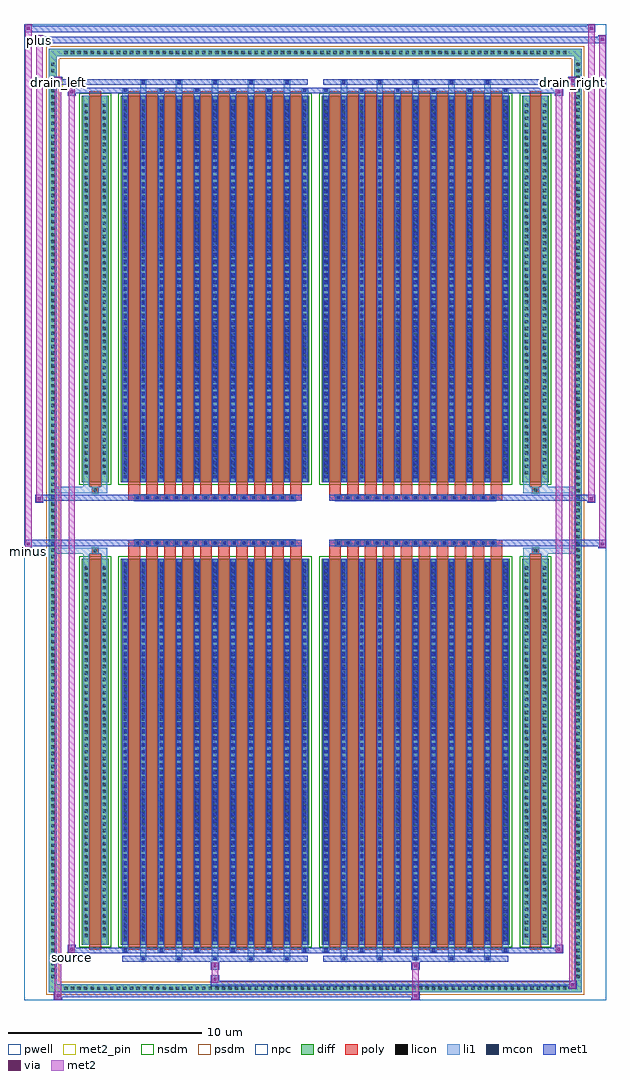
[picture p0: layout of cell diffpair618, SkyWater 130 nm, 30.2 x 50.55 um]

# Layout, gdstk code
import gdstk
lib = gdstk.Library(unit=1e-6, precision=5e-09)
def R(c, l, rs):  # rectangles x0, y0, x1, y1
    for r in rs: c.add(gdstk.rectangle(r[:2], r[2:], *l))
def A(c, l, x, y, w, h, nx, ny, dx, dy):  # array of equal rectangles
    R(c, l, [(x+i*dx, y+j*dy, x+i*dx+w, y+j*dy+h) for i in range(nx) for j in range(ny)])
def P(c, l, *ps):  # polygons
    for p in ps: c.add(gdstk.Polygon(p, *l))
pwell = (64, 44)
diff = (65, 20)
poly = (66, 20)
licon = (66, 44)
li1 = (67, 20)
mcon = (67, 44)
met1 = (68, 20)
via = (68, 44)
met2_pin = (69, 16)
met2 = (69, 20)
nsdm = (93, 44)
psdm = (94, 20)
npc = (95, 20)

diffpair618 = lib.new_cell('diffpair618')
R(diffpair618, pwell, [(-15.08,-24.84,15.08,25.71), (-12.4,-23.03,-0.01,-0.805), (0.01,-23.03,12.4,-0.805), (-12.4,0.805,-0.01,23.03), (0.01,0.805,12.4,23.03)])
A(diffpair618, diff, -13.125, -24.44, 0.41, 0.41, 77, 2, 0.34, 48.47)
A(diffpair618, diff, -13.81, -23.835, 0.41, 0.41, 1, 140, 0, 0.34)
A(diffpair618, diff, 13.4, -23.835, 0.41, 0.41, 1, 140, 0, 0.34)
R(diffpair618, diff, [(-13.125,-24.44,13.125,-24.03), (-13.81,-23.835,-13.4,23.835), (13.4,-23.835,13.81,23.835), (-12.09,-21.985,-10.71,-1.985), (-10.07,-21.985,-0.32,-1.985), (0.32,-21.985,10.07,-1.985), (10.71,-21.985,12.09,-1.985), (-12.09,1.985,-10.71,21.985), (-10.07,1.985,-0.32,21.985), (0.32,1.985,10.07,21.985), (10.71,1.985,12.09,21.985), (-13.125,24.03,13.125,24.44)])
P(diffpair618, diff, [(13.81,24.44),(-13.81,24.44),(-13.81,-24.03),(-13.4,-24.03),(-13.4,24.03),(13.4,24.03),(13.4,-24.03),(-13.4,-24.03),(-13.81,-24.03),(-13.81,-24.44),(13.81,-24.44)])
A(diffpair618, poly, -9.68, -22.235, 0.6, 20.5, 10, 2, 0.93, 23.97)
A(diffpair618, poly, 0.71, -22.235, 0.6, 20.5, 10, 2, 0.93, 23.97)
A(diffpair618, poly, -9.68, -1.735, 0.6, 0.4, 10, 2, 0.93, 3.07)
A(diffpair618, poly, 0.71, -1.735, 0.6, 0.4, 10, 2, 0.93, 3.07)
A(diffpair618, poly, -9.36, -1.335, 0.33, 0.33, 17, 2, 0.5, 2.34)
A(diffpair618, poly, 1.03, -1.335, 0.33, 0.33, 17, 2, 0.5, 2.34)
R(diffpair618, poly, [(-11.7,-22.235,-11.1,-1.735), (11.1,-22.235,11.7,-1.735), (-11.565,-1.735,-11.235,-1.405), (-11.565,-1.735,-11.235,-1.405), (11.235,-1.735,11.565,-1.405), (11.235,-1.735,11.565,-1.405), (-9.68,-1.335,-0.71,-1.005), (0.71,-1.335,9.68,-1.005), (-9.68,1.005,-0.71,1.335), (0.71,1.005,9.68,1.335), (-11.565,1.405,-11.235,1.735), (-11.565,1.405,-11.235,1.735), (11.235,1.405,11.565,1.735), (11.235,1.405,11.565,1.735), (-11.7,1.735,-11.1,22.235), (11.1,1.735,11.7,22.235)])
A(diffpair618, licon, -13.005, -24.32, 0.17, 0.17, 77, 2, 0.34, 48.47)
A(diffpair618, licon, -13.69, -23.715, 0.17, 0.17, 1, 140, 0, 0.34)
A(diffpair618, licon, 13.52, -23.715, 0.17, 0.17, 1, 140, 0, 0.34)
A(diffpair618, licon, -11.95, -21.59, 0.17, 0.17, 1, 57, 0, 0.34)
A(diffpair618, licon, -11.02, -21.59, 0.17, 0.17, 1, 57, 0, 0.34)
A(diffpair618, licon, -9.93, -21.59, 0.17, 0.17, 11, 57, 0.93, 0.34)
A(diffpair618, licon, 0.46, -21.59, 0.17, 0.17, 11, 57, 0.93, 0.34)
A(diffpair618, licon, 10.85, -21.59, 0.17, 0.17, 1, 57, 0, 0.34)
A(diffpair618, licon, 11.78, -21.59, 0.17, 0.17, 1, 57, 0, 0.34)
A(diffpair618, licon, -9.28, -1.255, 0.17, 0.17, 17, 2, 0.5, 2.34)
A(diffpair618, licon, 1.11, -1.255, 0.17, 0.17, 17, 2, 0.5, 2.34)
A(diffpair618, licon, -11.95, 2.38, 0.17, 0.17, 1, 57, 0, 0.34)
A(diffpair618, licon, -11.02, 2.38, 0.17, 0.17, 1, 57, 0, 0.34)
A(diffpair618, licon, -9.93, 2.38, 0.17, 0.17, 11, 57, 0.93, 0.34)
A(diffpair618, licon, 0.46, 2.38, 0.17, 0.17, 11, 57, 0.93, 0.34)
A(diffpair618, licon, 10.85, 2.38, 0.17, 0.17, 1, 57, 0, 0.34)
A(diffpair618, licon, 11.78, 2.38, 0.17, 0.17, 1, 57, 0, 0.34)
R(diffpair618, licon, [(-11.485,-1.655,-11.315,-1.485), (11.315,-1.655,11.485,-1.485), (-11.485,1.485,-11.315,1.655), (11.315,1.485,11.485,1.655)])
A(diffpair618, li1, -13.085, -24.4, 0.33, 0.33, 77, 2, 0.34, 48.47)
A(diffpair618, li1, -13.77, -23.795, 0.33, 0.33, 1, 140, 0, 0.34)
A(diffpair618, li1, 13.44, -23.795, 0.33, 0.33, 1, 140, 0, 0.34)
A(diffpair618, li1, -9.08, -22.79, 0.33, 0.805, 5, 2, 1.86, 44.775)
A(diffpair618, li1, -9, -22.79, 0.17, 0.17, 5, 2, 1.86, 45.41)
A(diffpair618, li1, 1.31, -22.79, 0.33, 0.805, 5, 2, 1.86, 44.775)
A(diffpair618, li1, 1.39, -22.79, 0.17, 0.17, 5, 2, 1.86, 45.41)
A(diffpair618, li1, -10.01, -22.36, 0.33, 0.375, 6, 2, 1.86, 44.345)
A(diffpair618, li1, -9.93, -22.36, 0.17, 0.17, 6, 2, 1.86, 44.55)
A(diffpair618, li1, 0.38, -22.36, 0.33, 0.375, 6, 2, 1.86, 44.345)
A(diffpair618, li1, 0.46, -22.36, 0.17, 0.17, 6, 2, 1.86, 44.55)
A(diffpair618, li1, -10.01, -21.985, 0.33, 20, 11, 2, 0.93, 23.97)
A(diffpair618, li1, 0.38, -21.985, 0.33, 20, 11, 2, 0.93, 23.97)
A(diffpair618, li1, -9.93, -21.79, 0.17, 0.17, 11, 55, 0.93, 0.36)
A(diffpair618, li1, -9.93, -21.79, 0.17, 19.61, 11, 2, 0.93, 23.97)
A(diffpair618, li1, 0.46, -21.79, 0.17, 0.17, 11, 55, 0.93, 0.36)
A(diffpair618, li1, 0.46, -21.79, 0.17, 19.61, 11, 2, 0.93, 23.97)
A(diffpair618, li1, -12.03, -21.67, 0.33, 0.33, 1, 57, 0, 0.34)
A(diffpair618, li1, -11.1, -21.67, 0.33, 0.33, 1, 57, 0, 0.34)
A(diffpair618, li1, -10.01, -21.67, 0.33, 0.33, 11, 57, 0.93, 0.34)
A(diffpair618, li1, 0.38, -21.67, 0.33, 0.33, 11, 57, 0.93, 0.34)
A(diffpair618, li1, 10.77, -21.67, 0.33, 0.33, 1, 57, 0, 0.34)
A(diffpair618, li1, 11.7, -21.67, 0.33, 0.33, 1, 57, 0, 0.34)
A(diffpair618, li1, -9.36, -1.335, 0.33, 0.33, 17, 2, 0.5, 2.34)
A(diffpair618, li1, 1.03, -1.335, 0.33, 0.33, 17, 2, 0.5, 2.34)
A(diffpair618, li1, -9.93, 2.18, 0.17, 0.17, 11, 55, 0.93, 0.36)
A(diffpair618, li1, 0.46, 2.18, 0.17, 0.17, 11, 55, 0.93, 0.36)
A(diffpair618, li1, -12.03, 2.3, 0.33, 0.33, 1, 57, 0, 0.34)
A(diffpair618, li1, -11.1, 2.3, 0.33, 0.33, 1, 57, 0, 0.34)
A(diffpair618, li1, -10.01, 2.3, 0.33, 0.33, 11, 57, 0.93, 0.34)
A(diffpair618, li1, 0.38, 2.3, 0.33, 0.33, 11, 57, 0.93, 0.34)
A(diffpair618, li1, 10.77, 2.3, 0.33, 0.33, 1, 57, 0, 0.34)
A(diffpair618, li1, 11.7, 2.3, 0.33, 0.33, 1, 57, 0, 0.34)
R(diffpair618, li1, [(-13.81,-24.44,-13.4,-24.03), (-13.81,-24.44,-13.4,-24.03), (-13.4,-24.44,13.4,-24.03), (13.4,-24.44,13.81,-24.03), (13.4,-24.44,13.81,-24.03), (-13.81,-24.03,-13.4,24.03), (13.4,-24.03,13.81,24.03), (-12.03,-21.985,-11.7,-1.985), (-11.1,-21.985,-10.77,-1.985), (10.77,-21.985,11.1,-1.985), (11.7,-21.985,12.03,-1.985), (-12.03,-1.985,-11.7,-1.405), (-11.1,-1.985,-10.77,-1.405), (10.77,-1.985,11.1,-1.405), (11.7,-1.985,12.03,-1.405), (-13.81,-1.735,-11.565,-1.405), (-12.03,-1.735,-11.565,-1.405), (-11.565,-1.735,-11.235,-1.405), (-11.235,-1.735,-10.77,-1.405), (10.77,-1.735,11.235,-1.405), (11.235,-1.735,11.565,-1.405), (11.235,-1.735,13.81,-1.405), (11.565,-1.735,12.03,-1.405), (-13.81,1.405,-11.565,1.735), (-12.03,1.405,-11.565,1.735), (-12.03,1.405,-11.7,1.985), (-11.565,1.405,-11.235,1.735), (-11.235,1.405,-10.77,1.735), (-11.1,1.405,-10.77,1.985), (10.77,1.405,11.235,1.735), (10.77,1.405,11.1,1.985), (11.235,1.405,11.565,1.735), (11.235,1.405,13.81,1.735), (11.565,1.405,12.03,1.735), (11.7,1.405,12.03,1.985), (-12.03,1.985,-11.7,21.985), (-11.1,1.985,-10.77,21.985), (10.77,1.985,11.1,21.985), (11.7,1.985,12.03,21.985), (-13.81,24.03,-13.4,24.44), (-13.81,24.03,-13.4,24.44), (-13.4,24.03,13.4,24.44), (13.4,24.03,13.81,24.44), (13.4,24.03,13.81,24.44)])
A(diffpair618, mcon, -9, -22.79, 0.17, 0.17, 5, 2, 1.86, 45.41)
A(diffpair618, mcon, 1.39, -22.79, 0.17, 0.17, 5, 2, 1.86, 45.41)
A(diffpair618, mcon, -9.93, -22.36, 0.17, 0.17, 6, 2, 1.86, 44.55)
A(diffpair618, mcon, 0.46, -22.36, 0.17, 0.17, 6, 2, 1.86, 44.55)
A(diffpair618, mcon, -9.93, -21.79, 0.17, 0.17, 11, 55, 0.93, 0.36)
A(diffpair618, mcon, 0.46, -21.79, 0.17, 0.17, 11, 55, 0.93, 0.36)
A(diffpair618, mcon, -9.28, -1.255, 0.17, 0.17, 17, 2, 0.5, 2.34)
A(diffpair618, mcon, 1.11, -1.255, 0.17, 0.17, 17, 2, 0.5, 2.34)
A(diffpair618, mcon, -9.93, 2.18, 0.17, 0.17, 11, 55, 0.93, 0.36)
A(diffpair618, mcon, 0.46, 2.18, 0.17, 0.17, 11, 55, 0.93, 0.36)
A(diffpair618, met1, -9.06, -22.85, 0.29, 0.29, 5, 2, 1.86, 45.41)
A(diffpair618, met1, 1.33, -22.85, 0.29, 0.29, 5, 2, 1.86, 45.41)
A(diffpair618, met1, -9.99, -22.42, 0.29, 0.29, 6, 2, 1.86, 44.55)
A(diffpair618, met1, 0.4, -22.42, 0.29, 0.29, 6, 2, 1.86, 44.55)
A(diffpair618, met1, -9.99, -21.985, 0.29, 20, 11, 2, 0.93, 23.97)
A(diffpair618, met1, 0.4, -21.985, 0.29, 20, 11, 2, 0.93, 23.97)
A(diffpair618, met1, -9.99, -21.85, 0.29, 0.29, 11, 55, 0.93, 0.36)
A(diffpair618, met1, 0.4, -21.85, 0.29, 0.29, 11, 55, 0.93, 0.36)
A(diffpair618, met1, -9.34, -1.315, 0.29, 0.29, 17, 2, 0.5, 2.34)
A(diffpair618, met1, 1.05, -1.315, 0.29, 0.29, 17, 2, 0.5, 2.34)
A(diffpair618, met1, -9.99, 2.12, 0.29, 0.29, 11, 55, 0.93, 0.36)
A(diffpair618, met1, 0.4, 2.12, 0.29, 0.29, 11, 55, 0.93, 0.36)
R(diffpair618, met1, [(-13.54,-24.84,-13.11,-24.41), (4.98,-24.84,5.41,-24.41), (-13.54,-24.7,5.41,-24.41), (13.11,-24.27,13.54,-23.84), (-5.41,-24.13,13.54,-23.84), (-5.41,-23.99,-4.98,-23.56), (-5.41,-23.28,-4.98,-22.85), (4.98,-23.28,5.41,-22.85), (-9.99,-22.85,-0.4,-22.56), (0.4,-22.85,9.99,-22.56), (-12.83,-22.42,-12.4,-21.99), (-12.83,-22.42,-9.99,-22.13), (-9.99,-22.42,-0.4,-22.13), (-0.4,-22.42,0.4,-22.13), (0.4,-22.42,9.99,-22.13), (9.99,-22.42,12.83,-22.13), (12.4,-22.42,12.83,-21.99), (-15.08,-1.435,-14.65,-1.005), (14.65,-1.435,15.08,-1.005), (-15.08,-1.335,-0.71,-1.005), (-9.68,-1.335,-0.71,-1.005), (0.71,-1.335,9.68,-1.005), (0.71,-1.335,15.08,-1.005), (-14.51,0.905,-14.08,1.335), (14.08,0.905,14.51,1.335), (-14.51,1.005,-9.68,1.335), (-9.68,1.005,-0.71,1.335), (0.71,1.005,9.68,1.335), (9.68,1.005,14.51,1.335), (-12.83,21.99,-12.4,22.42), (12.4,21.99,12.83,22.42), (-12.83,22.13,-9.99,22.42), (-9.99,22.13,-0.4,22.42), (-0.4,22.13,0.4,22.42), (0.4,22.13,9.99,22.42), (9.99,22.13,12.83,22.42), (-13.54,22.56,-13.11,22.99), (-13.54,22.56,-9.99,22.85), (-9.99,22.56,-0.4,22.85), (0.4,22.56,9.99,22.85), (9.99,22.56,13.54,22.85), (13.11,22.56,13.54,22.99), (-14.51,24.71,-14.08,25.14), (-14.51,24.71,-12.4,25.04), (-12.4,24.71,12.4,25.04), (12.4,24.71,15.08,25.04), (14.65,24.71,15.08,25.14), (-15.08,25.28,-14.65,25.71), (-15.08,25.28,-12.4,25.61), (-12.4,25.28,12.4,25.61), (12.4,25.28,14.51,25.61), (14.08,25.28,14.51,25.71)])
R(diffpair618, via, [(-13.4,-24.7,-13.25,-24.55), (5.12,-24.7,5.27,-24.55), (13.25,-24.13,13.4,-23.98), (-5.27,-23.85,-5.12,-23.7), (-5.27,-23.14,-5.12,-22.99), (5.12,-23.14,5.27,-22.99), (-12.69,-22.28,-12.54,-22.13), (12.54,-22.28,12.69,-22.13), (-14.94,-1.295,-14.79,-1.145), (14.79,-1.295,14.94,-1.145), (-14.37,1.045,-14.22,1.195), (14.22,1.045,14.37,1.195), (-12.69,22.13,-12.54,22.28), (12.54,22.13,12.69,22.28), (-13.4,22.7,-13.25,22.85), (13.25,22.7,13.4,22.85), (-14.37,24.85,-14.22,25), (14.79,24.85,14.94,25), (-14.94,25.42,-14.79,25.57), (14.22,25.42,14.37,25.57)])
R(diffpair618, met2_pin, [(-12.865,-22.87,-12.365,-22.37), (-15.115,-1.885,-14.615,-1.385), (-13.575,22.44,-13.075,22.94), (13.075,22.44,13.575,22.94), (-14.545,24.59,-14.045,25.09)])
R(diffpair618, met2, [(-13.49,-24.79,-13.16,-24.46), (-13.49,-24.79,-13.16,22.94), (5.03,-24.79,5.36,-24.46), (5.03,-24.46,5.36,-23.23), (13.16,-24.22,13.49,-23.89), (13.16,-24.22,13.49,22.94), (-5.36,-23.94,-5.03,-23.61), (-5.36,-23.61,-5.03,-23.23), (-5.36,-23.23,-5.03,-22.9), (5.03,-23.23,5.36,-22.9), (-12.78,-22.37,-12.45,-22.04), (-12.78,-22.37,-12.45,22.37), (12.45,-22.37,12.78,-22.04), (12.45,-22.37,12.78,22.37), (-15.03,-1.385,-14.7,-1.055), (-15.03,-1.385,-14.7,25.66), (14.7,-1.385,15.03,-1.055), (14.7,-1.385,15.03,25.09), (-14.46,0.955,-14.13,1.285), (-14.46,0.955,-14.13,25.09), (14.13,0.955,14.46,1.285), (14.13,0.955,14.46,25.66), (-12.78,22.04,-12.45,22.37), (12.45,22.04,12.78,22.37), (-13.49,22.61,-13.16,22.94), (13.16,22.61,13.49,22.94), (-14.46,24.76,-14.13,25.09), (14.7,24.76,15.03,25.09), (-15.03,25.33,-14.7,25.66), (14.13,25.33,14.46,25.66)])
P(diffpair618, met2, [(15.03,-1.385),(15.03,-1.385),(15.03,-1.055),(15.03,-1.055)],
  [(15.03,24.76),(15.03,24.76),(15.03,25.09),(15.03,25.09)],
  [(-14.7,-1.385),(-14.7,-1.385),(-14.7,-1.055),(-14.7,-1.055)],
  [(-14.7,25.33),(-14.7,25.33),(-14.7,25.66),(-14.7,25.66)],
  [(14.46,0.955),(14.46,0.955),(14.46,1.285),(14.46,1.285)],
  [(14.46,25.33),(14.46,25.33),(14.46,25.66),(14.46,25.66)],
  [(-14.13,0.955),(-14.13,0.955),(-14.13,1.285),(-14.13,1.285)],
  [(-14.13,24.76),(-14.13,24.76),(-14.13,25.09),(-14.13,25.09)],
  [(-13.16,-24.79),(-13.16,-24.79),(-13.16,-24.46),(-13.16,-24.46)],
  [(-13.16,22.61),(-13.16,22.61),(-13.16,22.94),(-13.16,22.94)],
  [(13.49,-24.22),(13.49,-24.22),(13.49,-23.89),(13.49,-23.89)],
  [(13.49,22.61),(13.49,22.61),(13.49,22.94),(13.49,22.94)],
  [(-12.45,-22.37),(-12.45,-22.37),(-12.45,-22.04),(-12.45,-22.04)],
  [(-12.45,22.04),(-12.45,22.04),(-12.45,22.37),(-12.45,22.37)],
  [(12.78,-22.37),(12.78,-22.37),(12.78,-22.04),(12.78,-22.04)],
  [(12.78,22.04),(12.78,22.04),(12.78,22.37),(12.78,22.37)])
R(diffpair618, nsdm, [(-12.22,-22.115,-10.58,-1.855), (-10.2,-22.115,-0.19,-1.855), (0.19,-22.115,10.2,-1.855), (10.58,-22.115,12.22,-1.855), (-12.22,1.855,-10.58,22.115), (-10.2,1.855,-0.19,22.115), (0.19,1.855,10.2,22.115), (10.58,1.855,12.22,22.115)])
P(diffpair618, psdm, [(13.94,24.57),(-13.94,24.57),(-13.94,-23.9),(-13.27,-23.9),(-13.27,23.9),(13.27,23.9),(13.27,-23.9),(-13.27,-23.9),(-13.94,-23.9),(-13.94,-24.57),(13.94,-24.57)])
A(diffpair618, npc, -9.38, -1.355, 0.37, 0.37, 17, 2, 0.5, 2.34)
A(diffpair618, npc, 1.01, -1.355, 0.37, 0.37, 17, 2, 0.5, 2.34)
R(diffpair618, npc, [(-11.585,-1.755,-11.215,-1.385), (11.215,-1.755,11.585,-1.385), (-9.38,-1.355,-8.51,-0.985), (-9.38,-1.355,-8.51,-0.985), (-8.88,-1.355,-8.01,-0.985), (-8.88,-1.355,-8.01,-0.985), (-8.38,-1.355,-7.51,-0.985), (-8.38,-1.355,-7.51,-0.985), (-7.88,-1.355,-7.01,-0.985), (-7.88,-1.355,-7.01,-0.985), (-7.38,-1.355,-6.51,-0.985), (-7.38,-1.355,-6.51,-0.985), (-6.88,-1.355,-6.01,-0.985), (-6.88,-1.355,-6.01,-0.985), (-6.38,-1.355,-5.51,-0.985), (-6.38,-1.355,-5.51,-0.985), (-5.88,-1.355,-5.01,-0.985), (-5.88,-1.355,-5.01,-0.985), (-5.38,-1.355,-4.51,-0.985), (-5.38,-1.355,-4.51,-0.985), (-4.88,-1.355,-4.01,-0.985), (-4.88,-1.355,-4.01,-0.985), (-4.38,-1.355,-3.51,-0.985), (-4.38,-1.355,-3.51,-0.985), (-3.88,-1.355,-3.01,-0.985), (-3.88,-1.355,-3.01,-0.985), (-3.38,-1.355,-2.51,-0.985), (-3.38,-1.355,-2.51,-0.985), (-2.88,-1.355,-2.01,-0.985), (-2.88,-1.355,-2.01,-0.985), (-2.38,-1.355,-1.51,-0.985), (-2.38,-1.355,-1.51,-0.985), (-1.88,-1.355,-1.01,-0.985), (-1.88,-1.355,-1.01,-0.985), (1.01,-1.355,1.88,-0.985), (1.01,-1.355,1.88,-0.985), (1.51,-1.355,2.38,-0.985), (1.51,-1.355,2.38,-0.985), (2.01,-1.355,2.88,-0.985), (2.01,-1.355,2.88,-0.985), (2.51,-1.355,3.38,-0.985), (2.51,-1.355,3.38,-0.985), (3.01,-1.355,3.88,-0.985), (3.01,-1.355,3.88,-0.985), (3.51,-1.355,4.38,-0.985), (3.51,-1.355,4.38,-0.985), (4.01,-1.355,4.88,-0.985), (4.01,-1.355,4.88,-0.985), (4.51,-1.355,5.38,-0.985), (4.51,-1.355,5.38,-0.985), (5.01,-1.355,5.88,-0.985), (5.01,-1.355,5.88,-0.985), (5.51,-1.355,6.38,-0.985), (5.51,-1.355,6.38,-0.985), (6.01,-1.355,6.88,-0.985), (6.01,-1.355,6.88,-0.985), (6.51,-1.355,7.38,-0.985), (6.51,-1.355,7.38,-0.985), (7.01,-1.355,7.88,-0.985), (7.01,-1.355,7.88,-0.985), (7.51,-1.355,8.38,-0.985), (7.51,-1.355,8.38,-0.985), (8.01,-1.355,8.88,-0.985), (8.01,-1.355,8.88,-0.985), (8.51,-1.355,9.38,-0.985), (8.51,-1.355,9.38,-0.985), (-9.38,0.985,-8.51,1.355), (-9.38,0.985,-8.51,1.355), (-8.88,0.985,-8.01,1.355), (-8.88,0.985,-8.01,1.355), (-8.38,0.985,-7.51,1.355), (-8.38,0.985,-7.51,1.355), (-7.88,0.985,-7.01,1.355), (-7.88,0.985,-7.01,1.355), (-7.38,0.985,-6.51,1.355), (-7.38,0.985,-6.51,1.355), (-6.88,0.985,-6.01,1.355), (-6.88,0.985,-6.01,1.355), (-6.38,0.985,-5.51,1.355), (-6.38,0.985,-5.51,1.355), (-5.88,0.985,-5.01,1.355), (-5.88,0.985,-5.01,1.355), (-5.38,0.985,-4.51,1.355), (-5.38,0.985,-4.51,1.355), (-4.88,0.985,-4.01,1.355), (-4.88,0.985,-4.01,1.355), (-4.38,0.985,-3.51,1.355), (-4.38,0.985,-3.51,1.355), (-3.88,0.985,-3.01,1.355), (-3.88,0.985,-3.01,1.355), (-3.38,0.985,-2.51,1.355), (-3.38,0.985,-2.51,1.355), (-2.88,0.985,-2.01,1.355), (-2.88,0.985,-2.01,1.355), (-2.38,0.985,-1.51,1.355), (-2.38,0.985,-1.51,1.355), (-1.88,0.985,-1.01,1.355), (-1.88,0.985,-1.01,1.355), (1.01,0.985,1.88,1.355), (1.01,0.985,1.88,1.355), (1.51,0.985,2.38,1.355), (1.51,0.985,2.38,1.355), (2.01,0.985,2.88,1.355), (2.01,0.985,2.88,1.355), (2.51,0.985,3.38,1.355), (2.51,0.985,3.38,1.355), (3.01,0.985,3.88,1.355), (3.01,0.985,3.88,1.355), (3.51,0.985,4.38,1.355), (3.51,0.985,4.38,1.355), (4.01,0.985,4.88,1.355), (4.01,0.985,4.88,1.355), (4.51,0.985,5.38,1.355), (4.51,0.985,5.38,1.355), (5.01,0.985,5.88,1.355), (5.01,0.985,5.88,1.355), (5.51,0.985,6.38,1.355), (5.51,0.985,6.38,1.355), (6.01,0.985,6.88,1.355), (6.01,0.985,6.88,1.355), (6.51,0.985,7.38,1.355), (6.51,0.985,7.38,1.355), (7.01,0.985,7.88,1.355), (7.01,0.985,7.88,1.355), (7.51,0.985,8.38,1.355), (7.51,0.985,8.38,1.355), (8.01,0.985,8.88,1.355), (8.01,0.985,8.88,1.355), (8.51,0.985,9.38,1.355), (8.51,0.985,9.38,1.355), (-11.585,1.385,-11.215,1.755), (11.215,1.385,11.585,1.755)])
diffpair618.add(gdstk.Label('minus', (-14.865,-1.635), layer=69, texttype=5))
diffpair618.add(gdstk.Label('drain_right', (13.325,22.69), layer=69, texttype=5))
diffpair618.add(gdstk.Label('drain_left', (-13.325,22.69), layer=69, texttype=5))
diffpair618.add(gdstk.Label('source', (-12.615,-22.62), layer=69, texttype=5))
diffpair618.add(gdstk.Label('plus', (-14.295,24.84), layer=69, texttype=5))

lib.write_gds('diffpair618.gds')
